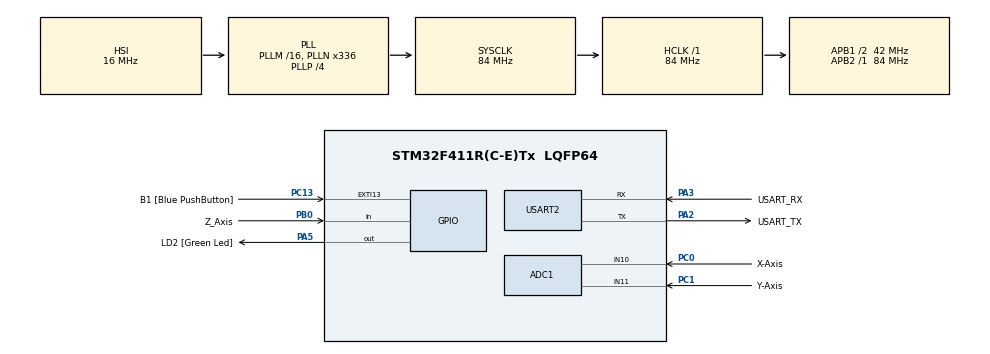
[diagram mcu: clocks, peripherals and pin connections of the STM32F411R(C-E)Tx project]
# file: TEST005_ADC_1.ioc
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ADC1.Channel-0\#ChannelRegularConversion=ADC_CHANNEL_10
ADC1.Channel-1\#ChannelRegularConversion=ADC_CHANNEL_11
ADC1.DiscontinuousConvMode=ENABLE
ADC1.InjNumberOfConversion=0
ADC1.NbrOfConversion=2
ADC1.NbrOfConversionFlag=1
ADC1.NbrOfDiscConversion=1
ADC1.Rank-0\#ChannelRegularConversion=1
ADC1.Rank-1\#ChannelRegularConversion=2
ADC1.SamplingTime-0\#ChannelRegularConversion=ADC_SAMPLETIME_15CYCLES
ADC1.SamplingTime-1\#ChannelRegularConversion=ADC_SAMPLETIME_15CYCLES
ADC1.master=1
Mcu.Family=STM32F4
Mcu.Name=STM32F411R(C-E)Tx
Mcu.Package=LQFP64
NVIC.PriorityGroup=NVIC_PRIORITYGROUP_0
PA13.GPIO_Label=TMS
PA13.Mode=Serial_Wire
PA13.Signal=SYS_JTMS-SWDIO
PA14.GPIO_Label=TCK
PA14.Mode=Serial_Wire
PA14.Signal=SYS_JTCK-SWCLK
PA2.GPIO_Label=USART_TX
PA2.Mode=Asynchronous
PA2.Signal=USART2_TX
PA3.GPIO_Label=USART_RX
PA3.Mode=Asynchronous
PA3.Signal=USART2_RX
PA5.GPIO_Label=LD2 [Green Led]
PA5.Signal=GPIO_Output
PB0.GPIO_Label=Z_Axis
PB0.GPIO_PuPd=GPIO_PULLUP
PB0.Signal=GPIO_Input
PB3.GPIO_Label=SWO
PB3.Signal=SYS_JTDO-SWO
PC0.GPIO_Label=X-Axis
PC0.Signal=ADCx_IN10
PC1.GPIO_Label=Y-Axis
PC1.Signal=ADCx_IN11
PC13-ANTI_TAMP.GPIO_Label=B1 [Blue PushButton]
PC13-ANTI_TAMP.GPIO_ModeDefaultEXTI=GPIO_MODE_IT_FALLING
PC13-ANTI_TAMP.Signal=GPXTI13
PC14-OSC32_IN.Mode=LSE-External-Oscillator
PC14-OSC32_IN.Signal=RCC_OSC32_IN
PC15-OSC32_OUT.Mode=LSE-External-Oscillator
PC15-OSC32_OUT.Signal=RCC_OSC32_OUT
PH0\ -\ OSC_IN.Mode=HSE-External-Clock-Source
PH0\ -\ OSC_IN.Signal=RCC_OSC_IN
PH1\ -\ OSC_OUT.Mode=HSE-External-Clock-Source
PH1\ -\ OSC_OUT.Signal=RCC_OSC_OUT
ProjectManager.HeapSize=0x200
ProjectManager.StackSize=0x400
ProjectManager.TargetToolchain=STM32CubeIDE
RCC.48MHZClocksFreq_Value=84000000
RCC.AHBFreq_Value=84000000
RCC.APB1CLKDivider=RCC_HCLK_DIV2
RCC.APB1Freq_Value=42000000
RCC.APB1TimFreq_Value=84000000
RCC.APB2Freq_Value=84000000
RCC.APB2TimFreq_Value=84000000
RCC.CortexFreq_Value=84000000
RCC.FLatency-AdvancedSettings=FLASH_LATENCY_2
RCC.HCLKFreq_Value=84000000
RCC.HSE_VALUE=8000000
RCC.HSI_VALUE=16000000
RCC.PLLN=336
RCC.PLLP=RCC_PLLP_DIV4
RCC.SYSCLKFreq_VALUE=84000000
RCC.SYSCLKSource=RCC_SYSCLKSOURCE_PLLCLK
RCC.VCOOutputFreq_Value=336000000
SH.ADCx_IN10.0=ADC1_IN10,IN10
SH.ADCx_IN11.0=ADC1_IN11,IN11
USART2.VirtualMode=VM_ASYNC
VP_TIM3_VS_ClockSourceINT.Mode=Internal
board=NUCLEO-F411RE

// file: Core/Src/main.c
/* USER CODE BEGIN Header */
/**
  ******************************************************************************
  * @file           : main.c
  * @brief          : Main program body
  ******************************************************************************
  * @attention
  *
  * Copyright (c) 2024 STMicroelectronics.
  * All rights reserved.
  *
  * This software is licensed under terms that can be found in the LICENSE file
  * in the root directory of this software component.
  * If no LICENSE file comes with this software, it is provided AS-IS.
  *
  ******************************************************************************
  */
/* USER CODE END Header */
#include "main.h"
#include "myLib.h"

ADC_HandleTypeDef hadc1;

TIM_HandleTypeDef htim3;

UART_HandleTypeDef huart2;

void SystemClock_Config(void);
static void MX_GPIO_Init(void);
static void MX_USART2_UART_Init(void);
static void MX_ADC1_Init(void);
static void MX_TIM3_Init(void);

int main(void)
{

  /* MCU Configuration--------------------------------------------------------*/

  /* Reset of all peripherals, Initializes the Flash interface and the Systick. */
  HAL_Init();

  /* Configure the system clock */
  SystemClock_Config();

  /* Initialize all configured peripherals */
  MX_GPIO_Init();
  MX_USART2_UART_Init();
  MX_ADC1_Init();
  MX_TIM3_Init();
  /* USER CODE BEGIN 2 */

  ProgramStart("ADC_Polling");

  srand(time(NULL));
  /* USER CODE END 2 */

  /* Infinite loop */
  /* USER CODE BEGIN WHILE */
  int sx = 80, sy = 24; // screen size
  int cx = 39, cy = 12; //initial position
  while (1)
  {
    /* USER CODE END WHILE */

    /* USER CODE BEGIN 3 */
	HAL_ADC_Start(&hadc1);
	HAL_ADC_PollForConversion(&hadc1, 1000); // start Trigger
	int v = HAL_ADC_GetValue(&hadc1);
	int x = (sx * v) / 4096;
	int ranx = rand()%80;
	//HAL_ADC_Stop(&hadc1); //skip

	HAL_ADC_Start(&hadc1);
	HAL_ADC_PollForConversion(&hadc1, 1000); // start Trigger
	v = HAL_ADC_GetValue(&hadc1);
	int y = (sy * v) / 4096;
	int rany = rand()%24;
	//HAL_ADC_Start(&hadc1);
	//HAL_ADC_PollForConversion(&hadc1, 1000); // start Trigger
	int z = HAL_GPIO_ReadPin(Z_Axis_GPIO_Port, Z_Axis_Pin);
	int score = 0;

	printf("\033[0;0HADC Value : (%d, %d, %d)", x, y, z);
	printf("\033[2;0HScore : %d", score);
	printf("\033[4;0Hrand : %2d", ranx);
	printf("\033[5;0Hrand : %2d", rany);
	printf("\033[%d;%dH \033 OO  ", rany, ranx);
	printf("\033[%d;%dH \033[%d;%dH@\033[A\n", cy, cx, y, x);
	cx = x; cy = y;  //save current position
	HAL_Delay(100);

	//printf("\033[?25l");
	//printf("\033[%d;%dH\033[2J  @ \r\n", 24*y/4095, 80*x/4095);
  }
  /* USER CODE END 3 */
}

void SystemClock_Config(void)
{
  RCC_OscInitTypeDef RCC_OscInitStruct = {0};
  RCC_ClkInitTypeDef RCC_ClkInitStruct = {0};

  /** Configure the main internal regulator output voltage
  */
  __HAL_RCC_PWR_CLK_ENABLE();
  __HAL_PWR_VOLTAGESCALING_CONFIG(PWR_REGULATOR_VOLTAGE_SCALE1);

  /** Initializes the RCC Oscillators according to the specified parameters
  * in the RCC_OscInitTypeDef structure.
  */
  RCC_OscInitStruct.OscillatorType = RCC_OSCILLATORTYPE_HSI;
  RCC_OscInitStruct.HSIState = RCC_HSI_ON;
  RCC_OscInitStruct.HSICalibrationValue = RCC_HSICALIBRATION_DEFAULT;
  RCC_OscInitStruct.PLL.PLLState = RCC_PLL_ON;
  RCC_OscInitStruct.PLL.PLLSource = RCC_PLLSOURCE_HSI;
  RCC_OscInitStruct.PLL.PLLM = 16;
  RCC_OscInitStruct.PLL.PLLN = 336;
  RCC_OscInitStruct.PLL.PLLP = RCC_PLLP_DIV4;
  RCC_OscInitStruct.PLL.PLLQ = 4;
  if (HAL_RCC_OscConfig(&RCC_OscInitStruct) != HAL_OK)
  {
    Error_Handler();
  }

  /** Initializes the CPU, AHB and APB buses clocks
  */
  RCC_ClkInitStruct.ClockType = RCC_CLOCKTYPE_HCLK|RCC_CLOCKTYPE_SYSCLK
                              |RCC_CLOCKTYPE_PCLK1|RCC_CLOCKTYPE_PCLK2;
  RCC_ClkInitStruct.SYSCLKSource = RCC_SYSCLKSOURCE_PLLCLK;
  RCC_ClkInitStruct.AHBCLKDivider = RCC_SYSCLK_DIV1;
  RCC_ClkInitStruct.APB1CLKDivider = RCC_HCLK_DIV2;
  RCC_ClkInitStruct.APB2CLKDivider = RCC_HCLK_DIV1;

  if (HAL_RCC_ClockConfig(&RCC_ClkInitStruct, FLASH_LATENCY_2) != HAL_OK)
  {
    Error_Handler();
  }
}

static void MX_ADC1_Init(void)
{

  ADC_ChannelConfTypeDef sConfig = {0};

  /** Configure the global features of the ADC (Clock, Resolution, Data Alignment and number of conversion)
  */
  hadc1.Instance = ADC1;
  hadc1.Init.ClockPrescaler = ADC_CLOCK_SYNC_PCLK_DIV4;
  hadc1.Init.Resolution = ADC_RESOLUTION_12B;
  hadc1.Init.ScanConvMode = ENABLE;
  hadc1.Init.ContinuousConvMode = DISABLE;
  hadc1.Init.DiscontinuousConvMode = ENABLE;
  hadc1.Init.NbrOfDiscConversion = 1;
  hadc1.Init.ExternalTrigConvEdge = ADC_EXTERNALTRIGCONVEDGE_NONE;
  hadc1.Init.ExternalTrigConv = ADC_SOFTWARE_START;
  hadc1.Init.DataAlign = ADC_DATAALIGN_RIGHT;
  hadc1.Init.NbrOfConversion = 2;
  hadc1.Init.DMAContinuousRequests = DISABLE;
  hadc1.Init.EOCSelection = ADC_EOC_SINGLE_CONV;
  if (HAL_ADC_Init(&hadc1) != HAL_OK)
  {
    Error_Handler();
  }

  /** Configure for the selected ADC regular channel its corresponding rank in the sequencer and its sample time.
  */
  sConfig.Channel = ADC_CHANNEL_10;
  sConfig.Rank = 1;
  sConfig.SamplingTime = ADC_SAMPLETIME_15CYCLES;
  if (HAL_ADC_ConfigChannel(&hadc1, &sConfig) != HAL_OK)
  {
    Error_Handler();
  }

  /** Configure for the selected ADC regular channel its corresponding rank in the sequencer and its sample time.
  */
  sConfig.Channel = ADC_CHANNEL_11;
  sConfig.Rank = 2;
  if (HAL_ADC_ConfigChannel(&hadc1, &sConfig) != HAL_OK)
  {
    Error_Handler();
  }

}

static void MX_TIM3_Init(void)
{

  TIM_ClockConfigTypeDef sClockSourceConfig = {0};
  TIM_MasterConfigTypeDef sMasterConfig = {0};

  htim3.Instance = TIM3;
  htim3.Init.Prescaler = 0;
  htim3.Init.CounterMode = TIM_COUNTERMODE_UP;
  htim3.Init.Period = 65535;
  htim3.Init.ClockDivision = TIM_CLOCKDIVISION_DIV1;
  htim3.Init.AutoReloadPreload = TIM_AUTORELOAD_PRELOAD_DISABLE;
  if (HAL_TIM_Base_Init(&htim3) != HAL_OK)
  {
    Error_Handler();
  }
  sClockSourceConfig.ClockSource = TIM_CLOCKSOURCE_INTERNAL;
  if (HAL_TIM_ConfigClockSource(&htim3, &sClockSourceConfig) != HAL_OK)
  {
    Error_Handler();
  }
  sMasterConfig.MasterOutputTrigger = TIM_TRGO_RESET;
  sMasterConfig.MasterSlaveMode = TIM_MASTERSLAVEMODE_DISABLE;
  if (HAL_TIMEx_MasterConfigSynchronization(&htim3, &sMasterConfig) != HAL_OK)
  {
    Error_Handler();
  }

}

static void MX_USART2_UART_Init(void)
{

  huart2.Instance = USART2;
  huart2.Init.BaudRate = 115200;
  huart2.Init.WordLength = UART_WORDLENGTH_8B;
  huart2.Init.StopBits = UART_STOPBITS_1;
  huart2.Init.Parity = UART_PARITY_NONE;
  huart2.Init.Mode = UART_MODE_TX_RX;
  huart2.Init.HwFlowCtl = UART_HWCONTROL_NONE;
  huart2.Init.OverSampling = UART_OVERSAMPLING_16;
  if (HAL_UART_Init(&huart2) != HAL_OK)
  {
    Error_Handler();
  }

}

static void MX_GPIO_Init(void)
{
  GPIO_InitTypeDef GPIO_InitStruct = {0};

  /* GPIO Ports Clock Enable */
  __HAL_RCC_GPIOC_CLK_ENABLE();
  __HAL_RCC_GPIOH_CLK_ENABLE();
  __HAL_RCC_GPIOA_CLK_ENABLE();
  __HAL_RCC_GPIOB_CLK_ENABLE();

  /*Configure GPIO pin Output Level */
  HAL_GPIO_WritePin(LD2_GPIO_Port, LD2_Pin, GPIO_PIN_RESET);

  /*Configure GPIO pin : B1_Pin */
  GPIO_InitStruct.Pin = B1_Pin;
  GPIO_InitStruct.Mode = GPIO_MODE_IT_FALLING;
  GPIO_InitStruct.Pull = GPIO_NOPULL;
  HAL_GPIO_Init(B1_GPIO_Port, &GPIO_InitStruct);

  /*Configure GPIO pin : LD2_Pin */
  GPIO_InitStruct.Pin = LD2_Pin;
  GPIO_InitStruct.Mode = GPIO_MODE_OUTPUT_PP;
  GPIO_InitStruct.Pull = GPIO_NOPULL;
  GPIO_InitStruct.Speed = GPIO_SPEED_FREQ_LOW;
  HAL_GPIO_Init(LD2_GPIO_Port, &GPIO_InitStruct);

  /*Configure GPIO pin : Z_Axis_Pin */
  GPIO_InitStruct.Pin = Z_Axis_Pin;
  GPIO_InitStruct.Mode = GPIO_MODE_INPUT;
  GPIO_InitStruct.Pull = GPIO_PULLUP;
  HAL_GPIO_Init(Z_Axis_GPIO_Port, &GPIO_InitStruct);

}

void Error_Handler(void)
{
  __disable_irq();
  while (1)
  {
  }
}
